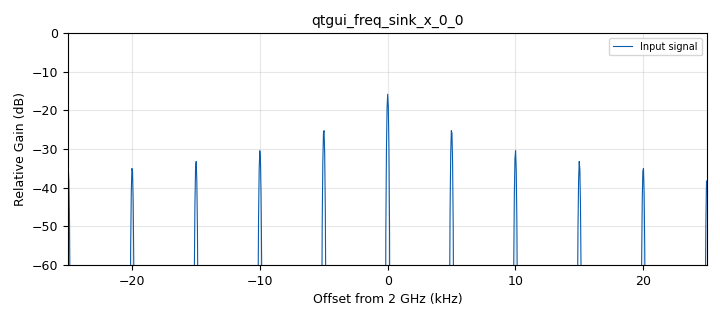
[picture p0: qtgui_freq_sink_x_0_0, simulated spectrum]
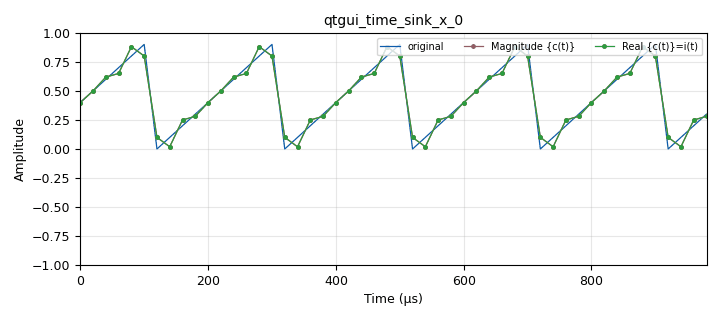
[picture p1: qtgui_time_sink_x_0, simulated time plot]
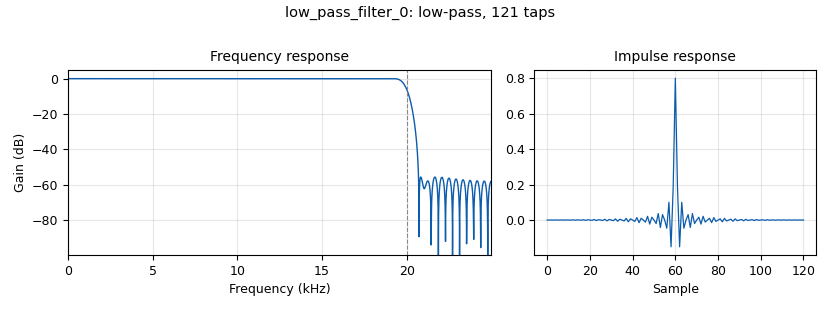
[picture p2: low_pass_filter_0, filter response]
options:
  parameters:
    author: C. Seguinot
    category: Custom
    copyright: GNU GPL V3
    description: 'IQ tutorial : simple AM modulation using real blocks'
    generate_options: qt_gui
    id: IQ_tutorial_AM_TX_real
    output_language: python
    title: Amplitude modulation
  states: {}

blocks:
- name: fp_complex
  id: variable_qtgui_range
  parameters:
    gui_hint: 1,1,1,1
    label: Carrier Frequency F0
    orient: Qt.Horizontal
    start: 1e6
    step: 0.1e9
    stop: 10e9
    value: 2e9
  states: {}
- name: input_rate
  id: variable
  parameters:
    value: '5000'
  states: {}
- name: oversampling_complex
  id: variable
  parameters:
    value: '10'
  states: {}
- name: samp_rate_complex
  id: variable
  parameters:
    value: input_rate*oversampling_complex
  states: {}
- name: analog_const_source_x_0_0
  id: analog_const_source_x
  parameters:
    comment: q(t)=0
    const: '0'
    type: float
  states: {}
- name: analog_sig_source_x_0_0
  id: analog_sig_source_x
  parameters:
    amp: '1'
    comment: i(t)=a(t)
    freq: input_rate
    offset: '0'
    phase: '0'
    samp_rate: samp_rate_complex
    type: float
    waveform: analog.GR_SAW_WAVE
  states: {}
- name: blocks_complex_to_mag_0
  id: blocks_complex_to_mag
  parameters:
    comment: AM demodulation
  states: {}
- name: blocks_complex_to_real_0
  id: blocks_complex_to_real
  parameters: {}
  states: {}
- name: blocks_float_to_complex_0
  id: blocks_float_to_complex
  parameters: {}
  states: {}
- name: blocks_throttle_0
  id: blocks_throttle
  parameters:
    samples_per_second: samp_rate_complex
    type: complex
  states: {}
- name: low_pass_filter_0
  id: low_pass_filter
  parameters:
    cutoff_freq: '20000'
    decim: '1'
    gain: '1'
    samp_rate: samp_rate_complex
    type: fir_filter_ccf
    width: '1000'
    win: firdes.WIN_HAMMING
  states: {}
- name: qtgui_freq_sink_x_0_0
  id: qtgui_freq_sink_x
  parameters:
    bw: samp_rate_complex
    fc: fp_complex
    fftsize: '1024'
    gui_hint: 2,0,1,1
    label1: Input signal
    type: complex
    wintype: firdes.WIN_BLACKMAN_hARRIS
    ymax: '0'
    ymin: '-60'
  states: {}
- name: qtgui_time_sink_x_0
  id: qtgui_time_sink_x
  parameters:
    color3: black
    entags: 'False'
    gui_hint: 2,1,1,1
    label1: original
    label2: Magnitude {c(t)}
    label3: Real {c(t)}=i(t)
    marker2: '0'
    marker3: '2'
    nconnections: '3'
    size: '50'
    srate: samp_rate_complex
    tr_level: '0.5'
    tr_mode: qtgui.TRIG_MODE_AUTO
    type: float
  states: {}
- name: virtual_sink_0
  id: virtual_sink
  parameters:
    stream_id: AM_modulated
  states: {}
- name: virtual_sink_0_0
  id: virtual_sink
  parameters:
    stream_id: input_signal
  states: {}
- name: virtual_source_0
  id: virtual_source
  parameters:
    stream_id: AM_modulated
  states: {}
- name: virtual_source_0_0
  id: virtual_source
  parameters:
    comment: input sawtooth
    stream_id: input_signal
  states: {}

connections:
- [analog_const_source_x_0_0, '0', blocks_float_to_complex_0, '1']
- [analog_sig_source_x_0_0, '0', blocks_float_to_complex_0, '0']
- [analog_sig_source_x_0_0, '0', virtual_sink_0_0, '0']
- [blocks_complex_to_mag_0, '0', qtgui_time_sink_x_0, '1']
- [blocks_complex_to_real_0, '0', qtgui_time_sink_x_0, '2']
- [blocks_float_to_complex_0, '0', blocks_throttle_0, '0']
- [blocks_throttle_0, '0', qtgui_freq_sink_x_0_0, '0']
- [blocks_throttle_0, '0', virtual_sink_0, '0']
- [low_pass_filter_0, '0', blocks_complex_to_mag_0, '0']
- [low_pass_filter_0, '0', blocks_complex_to_real_0, '0']
- [virtual_source_0, '0', low_pass_filter_0, '0']
- [virtual_source_0_0, '0', qtgui_time_sink_x_0, '0']

metadata:
  file_format: 1
